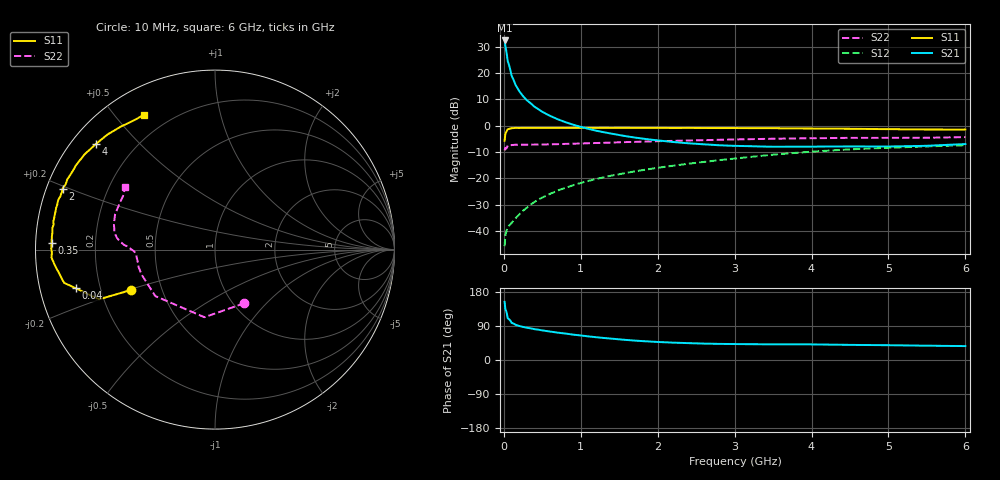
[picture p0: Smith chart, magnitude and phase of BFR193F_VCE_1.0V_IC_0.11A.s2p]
! Infineon Technologies  Discrete & RF Semiconductors
! BFR193F
! VCE =  1.0 V,  IC = 0.11 A
! Common Emitter S-Parameters:  Jan 2017
# GHz  S  MA  R  50
!  f  S11  S21  S12  S22
! GHz  MAG  ANG  MAG  ANG  MAG  ANG  MAG  ANG
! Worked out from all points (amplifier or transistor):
!   77 points, 10 MHz to 6 GHz, reference 50 ohm
!   highest |S21| = 32.4 dB at 10 MHz (marker M1)
!   |S21| within 3 dB of that: start of sweep to 25.93 MHz
!   unconditionally stable (mu >= 1): start of sweep to 17.84 MHz; 166.9 MHz to end of sweep
!   at 130 MHz: K = 0.92, MSG = 26.5 dB, |S12| = -35.9 dB
!   at 2.2 GHz: K = 1.17, MAG = 2.0 dB, |S12| = -15.2 dB
!   at 6 GHz: K = 1.07, MAG = -1.4 dB, |S12| = -7.4 dB
!   S11 on the Smith chart (normalised r, x): 10 MHz: 0.33, -0.20; 40 MHz: 0.11, -0.13; 350 MHz: 0.05, +0.02; 2 GHz: 0.05, +0.19; 4 GHz: 0.07, +0.38; 6 GHz: 0.11, +0.60
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0.01  0.5218 -154.3  41.55 153.4  0.0052 58.9  0.3404 -61.3
0.02  0.7031 -156.8  32.92 134.1  0.0083 51.1  0.3814 -98.9
0.04  0.8055 -164.5  21.84 122.0  0.0107 43.2  0.3837 -129.0
0.05  0.8611 -167.6  17.01 110.3  0.0119 40.5  0.4215 -142.1
0.1  0.8975 -174.6  8.982 98.2  0.0143 44.6  0.4315 -160.9
0.15  0.9121 -177.2  6.064 93.2  0.0174 53.2  0.4367 -167.1
0.2  0.9088 -179.0  4.546 89.7  0.0208 57.8  0.4358 -170.1
0.25  0.9125 179.6  3.64 87.3  0.0245 62.5  0.4369 -172.6
0.3  0.9114 178.7  3.043 85.2  0.0279 65.8  0.4384 -173.8
0.35  0.9113 177.7  2.663 83.5  0.032 67.8  0.4389 -174.8
0.4  0.9114 176.7  2.286 81.3  0.0361 69.4  0.4395 -175.8
0.5  0.9118 175.4  1.838 78.1  0.0435 71.5  0.441 -176.9
0.6  0.911 174.0  1.544 75.1  0.051 72.5  0.4452 -177.7
0.8  0.9099 171.3  1.17 69.8  0.0664 73.8  0.4535 -179.0
1.1  0.9138 167.6  0.873 62.3  0.09 74.6  0.4666 179.9
2  0.9147 158.2  0.529 47.6  0.1595 72.1  0.5102 176.8
2.1  0.9114 157.3  0.51 46.7  0.167 71.6  0.5136 176.5
3.1  0.9042 147.8  0.413 41.9  0.2475 66.7  0.5533 172.7
4  0.8867 138.4  0.402 41.2  0.3229 59.7  0.5806 165.9
4.1  0.8843 137.3  0.403 40.9  0.3296 58.6  0.5822 164.8
5.1  0.8601 126.5  0.407 38.8  0.3878 49.7  0.5907 153.7
6  0.8486 117.8  0.45 36.7  0.4277 43.2  0.6101 145.2
